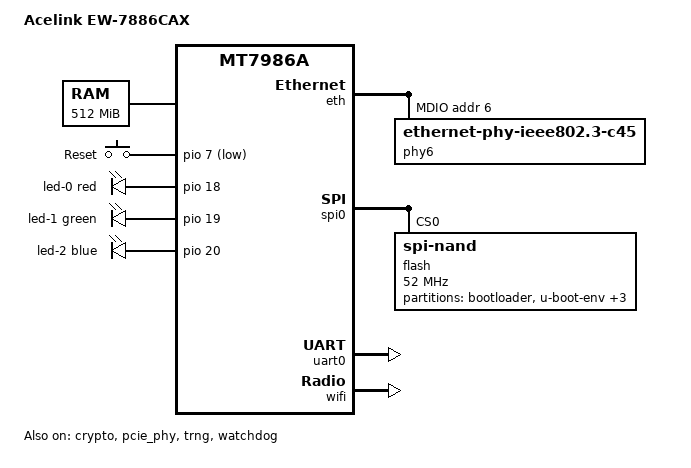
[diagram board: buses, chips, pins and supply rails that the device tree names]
// SPDX-License-Identifier: GPL-2.0-only OR MIT

/dts-v1/;
#include <dt-bindings/input/input.h>
#include <dt-bindings/gpio/gpio.h>
#include <dt-bindings/leds/common.h>

#include "mt7986a.dtsi"

/ {
	compatible = "acelink,ew-7886cax", "mediatek,mt7986a";
	model = "Acelink EW-7886CAX";

	aliases {
		serial0 = &uart0;
	};

	chosen {
		stdout-path = "serial0:115200n8";
	};

	memory@40000000 {
		reg = <0 0x40000000 0 0x20000000>;
		device_type = "memory";
	};

	keys {
		compatible = "gpio-keys";

		key-restart {
			label = "Reset";
			gpios = <&pio 7 GPIO_ACTIVE_LOW>;
			linux,code = <KEY_RESTART>;
		};
	};

	leds {
		compatible = "gpio-leds";

		led-0 {
			function = LED_FUNCTION_STATUS;
			color = <LED_COLOR_ID_RED>;
			gpios = <&pio 18 GPIO_ACTIVE_HIGH>;
		};

		led-1 {
			function = LED_FUNCTION_STATUS;
			color = <LED_COLOR_ID_GREEN>;
			gpios = <&pio 19 GPIO_ACTIVE_HIGH>;
		};

		led-2 {
			function = LED_FUNCTION_STATUS;
			color = <LED_COLOR_ID_BLUE>;
			gpios = <&pio 20 GPIO_ACTIVE_HIGH>;
		};
	};
};

&crypto {
	status = "okay";
};

&eth {
	status = "okay";

	mac@1 {
		compatible = "mediatek,eth-mac";
		reg = <1>;
		phy-mode = "2500base-x";
		phy-handle = <&phy6>;
		nvmem-cells = <&macaddr>;
		nvmem-cell-names = "mac-address";
	};

	mdio-bus {
		reset-gpios = <&pio 6 GPIO_ACTIVE_LOW>;
		reset-delay-us = <50000>;
		reset-post-delay-us = <20000>;

		#address-cells = <1>;
		#size-cells = <0>;

		phy6: phy@6 {
			compatible = "ethernet-phy-ieee802.3-c45";
			reg = <6>;
		};
	};
};

&pcie_phy {
	status = "okay";
};

&spi0 {
	status = "okay";

	flash@0 {
		compatible = "spi-nand";
		reg = <0>;
		#address-cells = <1>;
		#size-cells = <1>;
		spi-max-frequency = <52000000>;
		spi-rx-bus-width = <4>;
		spi-tx-bus-width = <4>;

		partitions {
			compatible = "fixed-partitions";
			#address-cells = <1>;
			#size-cells = <1>;

			partition@0 {
				reg = <0x0 0x100000>;
				label = "bootloader";
				read-only;
			};

			partition@100000 {
				reg = <0x100000 0x80000>;
				label = "u-boot-env";
			};

			partition@180000 {
				compatible = "nvmem-cells";
				reg = <0x180000 0x200000>;
				label = "factory";
				read-only;

				nvmem-layout {
					compatible = "fixed-layout";
					#address-cells = <1>;
					#size-cells = <1>;

					eeprom: eeprom@0 {
						reg = <0x0 0x1000>;
					};

					macaddr: macaddr@4 {
						reg = <0x4 0x6>;
					};
				};
			};

			partition@380000 {
				reg = <0x380000 0x200000>;
				label = "fip";
			};

			partition@580000 {
				reg = <0x580000 0x4000000>;
				label = "ubi";
			};
		};
	};
};

&trng {
	status = "okay";
};

&uart0 {
	status = "okay";
};

&watchdog {
	status = "okay";
};

&wifi {
	nvmem-cells = <&eeprom>;
	nvmem-cell-names = "eeprom";
	status = "okay";
};
